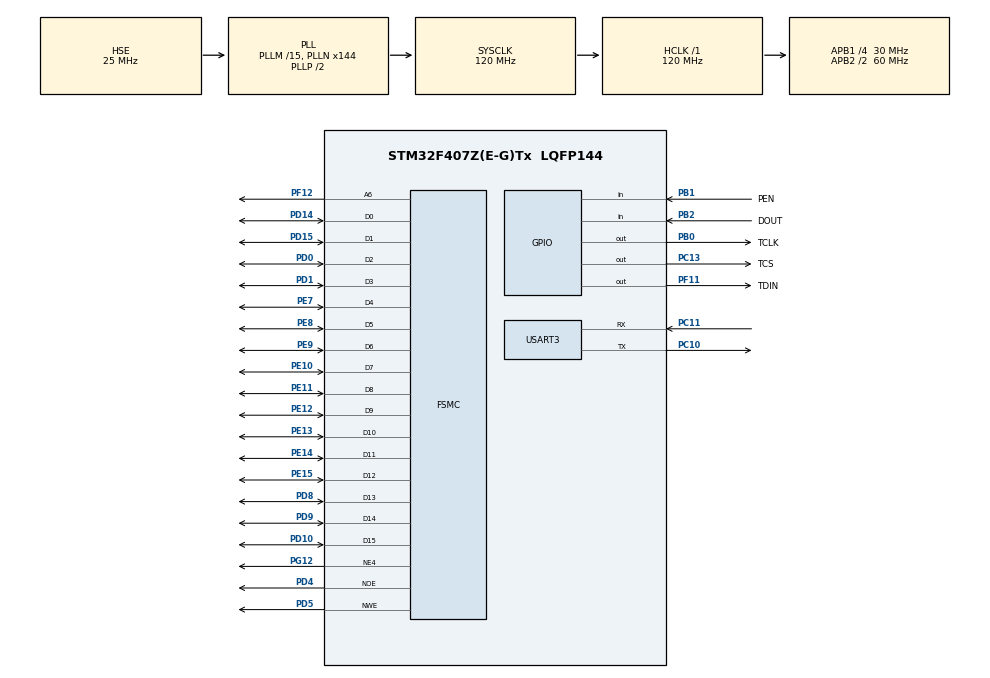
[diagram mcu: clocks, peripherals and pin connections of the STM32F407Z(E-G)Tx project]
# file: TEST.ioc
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Dma.MEMTOMEM.0.Direction=DMA_MEMORY_TO_MEMORY
Dma.MEMTOMEM.0.FIFOMode=DMA_FIFOMODE_ENABLE
Dma.MEMTOMEM.0.FIFOThreshold=DMA_FIFO_THRESHOLD_FULL
Dma.MEMTOMEM.0.Instance=DMA2_Stream0
Dma.MEMTOMEM.0.MemBurst=DMA_MBURST_SINGLE
Dma.MEMTOMEM.0.MemDataAlignment=DMA_MDATAALIGN_HALFWORD
Dma.MEMTOMEM.0.MemInc=DMA_MINC_ENABLE
Dma.MEMTOMEM.0.Mode=DMA_NORMAL
Dma.MEMTOMEM.0.PeriphBurst=DMA_PBURST_SINGLE
Dma.MEMTOMEM.0.PeriphDataAlignment=DMA_PDATAALIGN_HALFWORD
Dma.MEMTOMEM.0.PeriphInc=DMA_PINC_ENABLE
Dma.MEMTOMEM.0.Priority=DMA_PRIORITY_LOW
Dma.Request0=MEMTOMEM
FSMC.AddressSetupTime4=2
FSMC.BusTurnAroundDuration4=0
FSMC.DataSetupTime4=16
FSMC.ExtendedAddressSetupTime4=4
FSMC.ExtendedBusTurnAroundDuration4=0
FSMC.ExtendedDataSetupTime4=9
FSMC.ExtendedMode4=FSMC_EXTENDED_MODE_ENABLE
Mcu.Family=STM32F4
Mcu.Name=STM32F407Z(E-G)Tx
Mcu.Package=LQFP144
NVIC.PriorityGroup=NVIC_PRIORITYGROUP_4
PA13.Mode=Serial_Wire
PA13.Signal=SYS_JTMS-SWDIO
PA14.Mode=Serial_Wire
PA14.Signal=SYS_JTCK-SWCLK
PB0.GPIO_Label=TCLK
PB0.GPIO_Speed=GPIO_SPEED_FREQ_VERY_HIGH
PB0.PinState=GPIO_PIN_SET
PB0.Signal=GPIO_Output
PB1.GPIO_Label=PEN
PB1.GPIO_PuPd=GPIO_PULLUP
PB1.Signal=GPIO_Input
PB2.GPIO_Label=DOUT
PB2.Signal=GPIO_Input
PB3.Signal=SPI1_SCK
PB4.Signal=SPI1_MISO
PB5.Signal=SPI1_MOSI
PC10.Mode=Asynchronous
PC10.Signal=USART3_TX
PC11.Mode=Asynchronous
PC11.Signal=USART3_RX
PC13-ANTI_TAMP.GPIO_Label=TCS
PC13-ANTI_TAMP.PinState=GPIO_PIN_SET
PC13-ANTI_TAMP.Signal=GPIO_Output
PD0.Signal=FSMC_D2_DA2
PD1.Signal=FSMC_D3_DA3
PD10.Signal=FSMC_D15_DA15
PD14.Signal=FSMC_D0_DA0
PD15.Signal=FSMC_D1_DA1
PD4.Signal=FSMC_NOE
PD5.Signal=FSMC_NWE
PD8.Signal=FSMC_D13_DA13
PD9.Signal=FSMC_D14_DA14
PE10.Signal=FSMC_D7_DA7
PE11.Signal=FSMC_D8_DA8
PE12.Signal=FSMC_D9_DA9
PE13.Signal=FSMC_D10_DA10
PE14.Signal=FSMC_D11_DA11
PE15.Signal=FSMC_D12_DA12
PE7.Signal=FSMC_D4_DA4
PE8.Signal=FSMC_D5_DA5
PE9.Signal=FSMC_D6_DA6
PF11.GPIO_Label=TDIN
PF11.GPIO_Speed=GPIO_SPEED_FREQ_VERY_HIGH
PF11.Signal=GPIO_Output
PF12.Signal=FSMC_A6
PG12.Mode=NorPsramChipSelect4_4
PG12.Signal=FSMC_NE4
PH0-OSC_IN.Mode=HSE-External-Oscillator
PH0-OSC_IN.Signal=RCC_OSC_IN
PH1-OSC_OUT.Mode=HSE-External-Oscillator
PH1-OSC_OUT.Signal=RCC_OSC_OUT
ProjectManager.HeapSize=0x400
ProjectManager.StackSize=0x1600
ProjectManager.TargetToolchain=MDK-ARM V5.32
RCC.48MHZClocksFreq_Value=48000000
RCC.AHBFreq_Value=120000000
RCC.APB1CLKDivider=RCC_HCLK_DIV4
RCC.APB1Freq_Value=30000000
RCC.APB1TimFreq_Value=60000000
RCC.APB2CLKDivider=RCC_HCLK_DIV2
RCC.APB2Freq_Value=60000000
RCC.APB2TimFreq_Value=120000000
RCC.CortexFreq_Value=120000000
RCC.HCLKFreq_Value=120000000
RCC.HSE_VALUE=25000000
RCC.HSI_VALUE=16000000
RCC.LSE_VALUE=32768
RCC.PLLM=15
RCC.PLLN=144
RCC.PLLQ=5
RCC.PLLSourceVirtual=RCC_PLLSOURCE_HSE
RCC.SYSCLKFreq_VALUE=120000000
RCC.SYSCLKSource=RCC_SYSCLKSOURCE_PLLCLK
RCC.VCOOutputFreq_Value=240000000
SH.FSMC_A6.0=FSMC_A6,A6_4
SH.FSMC_D0_DA0.0=FSMC_D0,16b-d4
SH.FSMC_D10_DA10.0=FSMC_D10,16b-d4
SH.FSMC_D11_DA11.0=FSMC_D11,16b-d4
SH.FSMC_D12_DA12.0=FSMC_D12,16b-d4
SH.FSMC_D13_DA13.0=FSMC_D13,16b-d4
SH.FSMC_D14_DA14.0=FSMC_D14,16b-d4
SH.FSMC_D15_DA15.0=FSMC_D15,16b-d4
SH.FSMC_D1_DA1.0=FSMC_D1,16b-d4
SH.FSMC_D2_DA2.0=FSMC_D2,16b-d4
SH.FSMC_D3_DA3.0=FSMC_D3,16b-d4
SH.FSMC_D4_DA4.0=FSMC_D4,16b-d4
SH.FSMC_D5_DA5.0=FSMC_D5,16b-d4
SH.FSMC_D6_DA6.0=FSMC_D6,16b-d4
SH.FSMC_D7_DA7.0=FSMC_D7,16b-d4
SH.FSMC_D8_DA8.0=FSMC_D8,16b-d4
SH.FSMC_D9_DA9.0=FSMC_D9,16b-d4
SH.FSMC_NOE.0=FSMC_NOE,Lcd4
SH.FSMC_NWE.0=FSMC_NWE,Lcd4
TIM10.AutoReloadPreload=TIM_AUTORELOAD_PRELOAD_DISABLE
TIM10.Period=199
TIM10.Prescaler=4999
USART3.VirtualMode=VM_ASYNC
VP_TIM10_VS_ClockSourceINT.Mode=Enable_Timer
board=custom

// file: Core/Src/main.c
/* USER CODE BEGIN Header */
/**
  ******************************************************************************
  * @file           : main.c
  * @brief          : Main program body
  ******************************************************************************
  * @attention
  *
  * Copyright (c) 2025 STMicroelectronics.
  * All rights reserved.
  *
  * This software is licensed under terms that can be found in the LICENSE file
  * in the root directory of this software component.
  * If no LICENSE file comes with this software, it is provided AS-IS.
  *
  ******************************************************************************
  */
/* USER CODE END Header */
#include "main.h"
#include "dma.h"
#include "tim.h"
#include "usart.h"
#include "gpio.h"
#include "fsmc.h"

/* USER CODE BEGIN Includes */
#include "lcd.h"
#include "touch.h"
#include "stdio.h"
/* USER CODE END Includes */

void SystemClock_Config(void);

int main(void)
{

  /* MCU Configuration--------------------------------------------------------*/

  /* Reset of all peripherals, Initializes the Flash interface and the Systick. */
  HAL_Init();

  /* Configure the system clock */
  SystemClock_Config();

  /* Initialize all configured peripherals */
  MX_GPIO_Init();
  MX_DMA_Init();
  MX_TIM10_Init();
  MX_FSMC_Init();
  MX_USART3_UART_Init();
  /* USER CODE BEGIN 2 */
  LCD_Init();
	LCD_Fill(0,0,lcddev.width,lcddev.height,WHITE);
	HAL_Delay(500);
	LCD_Fill(0,0,lcddev.width,lcddev.height,BLACK);
	HAL_Delay(500);
	LCD_Fill(0,0,lcddev.width,lcddev.height,RED);
	HAL_Delay(500);
	LCD_Fill(0,0,lcddev.width,lcddev.height,GREEN);
	HAL_Delay(500);
	LCD_Fill(0,0,lcddev.width,lcddev.height,BLUE);
	HAL_Delay(500);
  /* USER CODE END 2 */

  /* Infinite loop */
  /* USER CODE BEGIN WHILE */
//	HAL_Delay(3000);
//	CDC_Transmit_FS("START", 5);
  printf("test_start");

//	HAL_UART_Transmit(&huart3, "hello", 5, 0xFFFF);
  while (1)
  {
//		HAL_UART_Transmit(&huart3, "hello", 5, 0xff);
		 Touch_Test();
    /* USER CODE END WHILE */

  }
}

void SystemClock_Config(void)
{
  RCC_OscInitTypeDef RCC_OscInitStruct = {0};
  RCC_ClkInitTypeDef RCC_ClkInitStruct = {0};

  /** Configure the main internal regulator output voltage
  */
  __HAL_RCC_PWR_CLK_ENABLE();
  __HAL_PWR_VOLTAGESCALING_CONFIG(PWR_REGULATOR_VOLTAGE_SCALE1);

  /** Initializes the RCC Oscillators according to the specified parameters
  * in the RCC_OscInitTypeDef structure.
  */
  RCC_OscInitStruct.OscillatorType = RCC_OSCILLATORTYPE_HSE;
  RCC_OscInitStruct.HSEState = RCC_HSE_ON;
  RCC_OscInitStruct.PLL.PLLState = RCC_PLL_ON;
  RCC_OscInitStruct.PLL.PLLSource = RCC_PLLSOURCE_HSE;
  RCC_OscInitStruct.PLL.PLLM = 15;
  RCC_OscInitStruct.PLL.PLLN = 144;
  RCC_OscInitStruct.PLL.PLLP = RCC_PLLP_DIV2;
  RCC_OscInitStruct.PLL.PLLQ = 5;
  if (HAL_RCC_OscConfig(&RCC_OscInitStruct) != HAL_OK)
  {
    Error_Handler();
  }

  /** Initializes the CPU, AHB and APB buses clocks
  */
  RCC_ClkInitStruct.ClockType = RCC_CLOCKTYPE_HCLK|RCC_CLOCKTYPE_SYSCLK
                              |RCC_CLOCKTYPE_PCLK1|RCC_CLOCKTYPE_PCLK2;
  RCC_ClkInitStruct.SYSCLKSource = RCC_SYSCLKSOURCE_PLLCLK;
  RCC_ClkInitStruct.AHBCLKDivider = RCC_SYSCLK_DIV1;
  RCC_ClkInitStruct.APB1CLKDivider = RCC_HCLK_DIV4;
  RCC_ClkInitStruct.APB2CLKDivider = RCC_HCLK_DIV2;

  if (HAL_RCC_ClockConfig(&RCC_ClkInitStruct, FLASH_LATENCY_3) != HAL_OK)
  {
    Error_Handler();
  }
}

void Error_Handler(void)
{
  __disable_irq();
  while (1)
  {
  }
}
